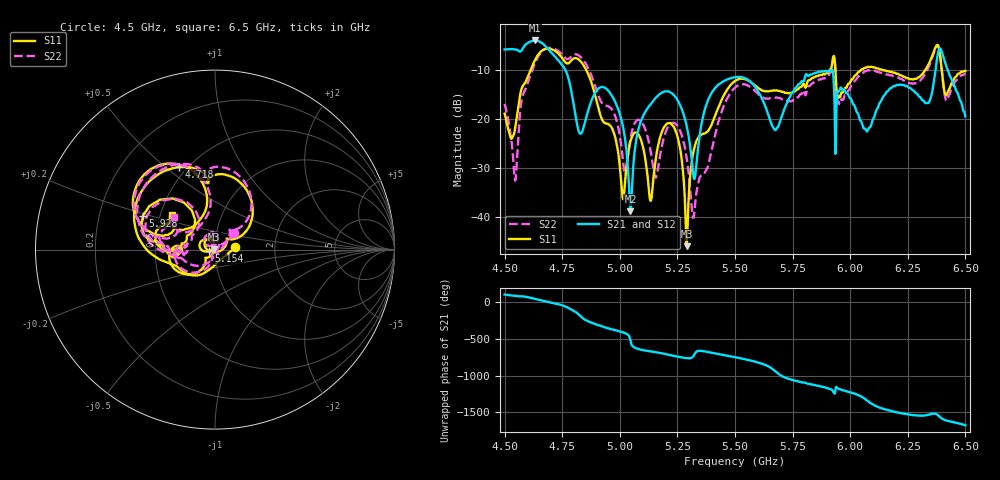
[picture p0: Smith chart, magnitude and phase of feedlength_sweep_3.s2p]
! TOUCHSTONE file generated by CST MICROWAVE STUDIO
! Date and time: Fri Nov 29 14:48:25 2024
! Project name: dual_circularly_polarized_waveguide_antenna.cst
! Parameters = {airCoaxOuterDiameter=3; chamferAngle=45; chamferWidth=24; connectorLength=10; drillingHoleDiameter=4.1; feedLength=60; flareDiameter=130; flareLength=70; gratingDistance=0; gratingGap=1.90274; outletLength=60; polarizerLength=134; probe1Diameter=1.3; probe1Distance=14.068; probe1Leng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
! Header version: 2018
! Port assignment regex: !\s*Touchstone port\s*([0-9]+)\s*=\s*(CST MWS port|CST DS port)\s*([0-9]+|Zmin|Zmax)\s*\(\"(.*)\"\)(\s*mode\s*([0-9]+))?.*
! Touchstone port assignment:
! Touchstone port 1 = CST MWS port 1 ("Input1")
! Touchstone port 2 = CST MWS port 2 ("Input2")
# GHz S MA R 50
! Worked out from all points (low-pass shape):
!   1001 points, 4.5 GHz to 6.5 GHz, reference 50 ohm
!   highest |S21| = -3.89 dB at 4.632 GHz (marker M1); lowest = -38.9 dB at 5.046 GHz (marker M2)
!   |S21| within 3 dB of the highest: start of sweep to 4.713 GHz; 6.379413 GHz to 6.4021 GHz (22.69 MHz wide, 0.355 % of centre)
!   lowest |S11| = -46.0 dB at 5.29 GHz (marker M3), VSWR 1.01, Z = 49.5 + j0.0907 ohm
!   |S11| at or under -10 dB: start of sweep to 4.612 GHz; 4.855 GHz to 5.91 GHz (1.055 GHz wide, 19.6 % of centre); 6.15 GHz to 6.325 GHz (174.4 MHz wide, 2.8 % of centre)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
!   |S22| runs from -40.2 to -4.9 dB; largest |S21 - S12| = 2.6e-06
!   S11 on the Smith chart (normalised r, x): 4.5 GHz: 1.25, +0.04; 4.718 GHz: 0.45, +0.56; 5.154 GHz: 0.93, -0.02; 5.928 GHz: 0.40, +0.19; 6.5 GHz: 0.57, +0.25
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4.5  0.1139 7.3  0.516 103.0  0.516 103.0  0.1431 41.2
4.546  0.0815 -87.8  0.5191 84.0  0.5191 84.0  0.02356 -31.6
4.632  0.4028 176.1  0.6389 44.5  0.6389 44.5  0.3756 172.4
4.718  0.5009 113.3  0.4382 -17.6  0.4382 -17.6  0.5227 115.1
4.834  0.3809 63.4  0.07223 155.2  0.07224 155.2  0.4234 69.3
4.952  0.08873 42.1  0.1935 0.4  0.1935 0.4  0.1348 52.9
5.014  0.01519 -82.9  0.08373 -52.6  0.08373 -52.6  0.0373 46.3
5.046  0.0591 162.6  0.01139 -161.4  0.01139 -161.4  0.06331 122.5
5.154  0.03603 -164.8  0.1636 39.5  0.1636 39.5  0.02559 105.5
5.168  0.05607 -168.7  0.1767 31.9  0.1767 31.9  0.0336 141.9
5.242  0.07598 131.6  0.1683 -17.3  0.1683 -17.3  0.08974 107.9
5.29  0.005028 169.5  0.08565 -42.9  0.08565 -42.9  0.04025 55.4
5.32  0.04706 -125.4  0.02592 -12.7  0.02592 -12.7  0.009852 -61.2
5.5  0.2457 -152.3  0.2693 -29.4  0.2693 -29.4  0.2101 -148.5
5.676  0.1967 177.3  0.07745 135.8  0.07745 135.8  0.1664 175.0
5.834  0.2621 -175.4  0.2883 -41.8  0.2883 -41.8  0.2315 -173.2
5.928  0.4438 154.8  0.2565 -148.2  0.2565 -148.2  0.4227 154.7
6.07  0.3375 168.9  0.07623 107.0  0.07623 107.0  0.3107 170.3
6.168  0.3083 152.1  0.1998 -34.3  0.1998 -34.3  0.2839 152.1
6.336  0.3505 165.8  0.1467 -96.7  0.1467 -96.7  0.3256 168.1
6.392  0.4154 102.8  0.5264 -131.0  0.5264 -131.0  0.4185 101.4
6.5  0.3111 141.1  0.1067 120.7  0.1067 120.7  0.2889 141.5
